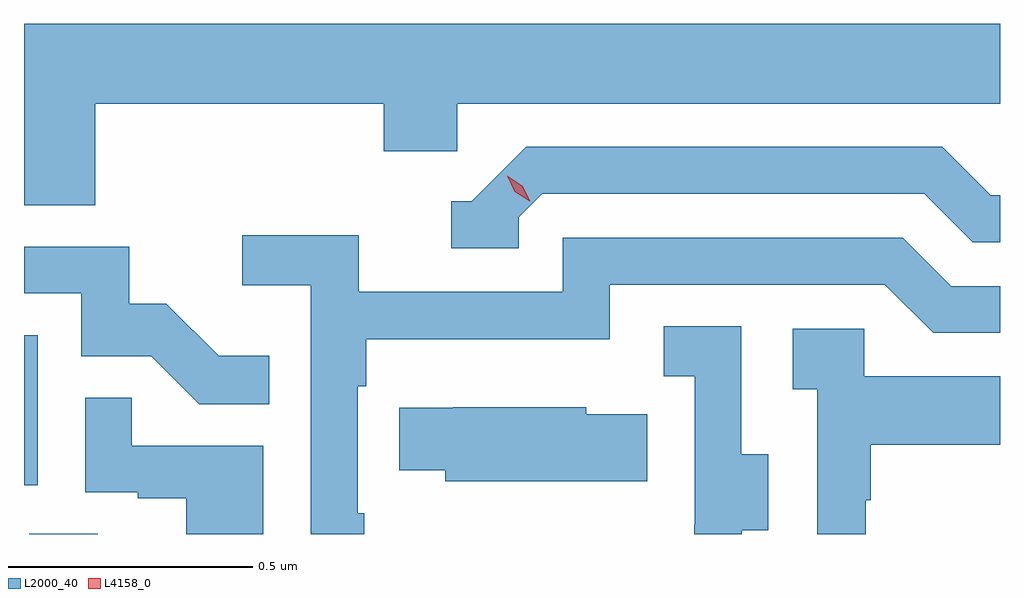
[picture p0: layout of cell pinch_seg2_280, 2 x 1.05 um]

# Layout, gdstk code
import gdstk
lib = gdstk.Library(unit=1e-6, precision=1e-09)
def R(c, l, rs):  # rectangles x0, y0, x1, y1
    for r in rs: c.add(gdstk.rectangle(r[:2], r[2:], *l))
def P(c, l, *ps):  # polygons
    for p in ps: c.add(gdstk.Polygon(p, *l))
L2000_40 = (2000, 40)
L4158_0 = (4158, 0)

pinch_seg2_280 = lib.new_cell('pinch_seg2_280')
R(pinch_seg2_280, L2000_40, [(890.519,654.745,890.659,654.746), (890.508,654.846,890.536,655.153)])
P(pinch_seg2_280, L2000_40, [(890.654,655.628),(891.245,655.628),(891.245,655.53),(891.396,655.53),(891.396,655.628),(892.508,655.628),(892.508,655.792),(890.508,655.792),(890.508,655.42),(890.654,655.42)],
  [(891.522,655.395),(891.57,655.443),(892.353,655.443),(892.452,655.344),(892.508,655.344),(892.508,655.44),(892.489,655.44),(892.39,655.539),(891.537,655.539),(891.426,655.428),(891.383,655.428),(891.383,655.332),(891.522,655.332)],
  [(891.205,654.788),(891.192,654.788),(891.192,655.049),(891.209,655.049),(891.209,655.145),(891.708,655.145),(891.708,655.257),(892.272,655.257),(892.371,655.158),(892.508,655.158),(892.508,655.254),(892.408,655.254),(892.309,655.353),(891.612,655.353),(891.612,655.242),(891.194,655.242),(891.194,655.358),(890.955,655.358),(890.955,655.256),(891.096,655.256),(891.096,654.745),(891.205,654.745)],
  [(891.011,655.111),(890.907,655.111),(890.8,655.218),(890.724,655.218),(890.724,655.335),(890.508,655.335),(890.508,655.239),(890.625,655.239),(890.625,655.11),(890.769,655.11),(890.867,655.012),(891.011,655.012)],
  [(891.979,654.754),(892.033,654.754),(892.033,654.909),(891.978,654.909),(891.978,655.172),(891.819,655.172),(891.819,655.069),(891.882,655.069),(891.882,654.765),(891.881,654.765),(891.881,654.745),(891.979,654.745)],
  [(892.233,654.815),(892.243,654.815),(892.243,654.929),(892.508,654.929),(892.508,655.069),(892.23,655.069),(892.23,655.167),(892.083,655.167),(892.083,655.043),(892.134,655.043),(892.134,654.745),(892.233,654.745)],
  [(890.998,654.927),(890.729,654.927),(890.729,655.025),(890.634,655.025),(890.634,654.831),(890.741,654.831),(890.741,654.819),(890.84,654.819),(890.84,654.745),(890.998,654.745)],
  [(891.785,654.991),(891.66,654.991),(891.66,655.006),(891.388,655.006),(891.388,655.005),(891.277,655.005),(891.277,654.877),(891.371,654.877),(891.371,654.854),(891.785,654.854)])
P(pinch_seg2_280, L4158_0, [(891.544,655.428),(891.514,655.447),(891.498,655.48),(891.498,655.48),(891.498,655.48),(891.529,655.46),(891.545,655.428),(891.545,655.428)])

lib.write_gds('pinch_seg2_280.gds')
